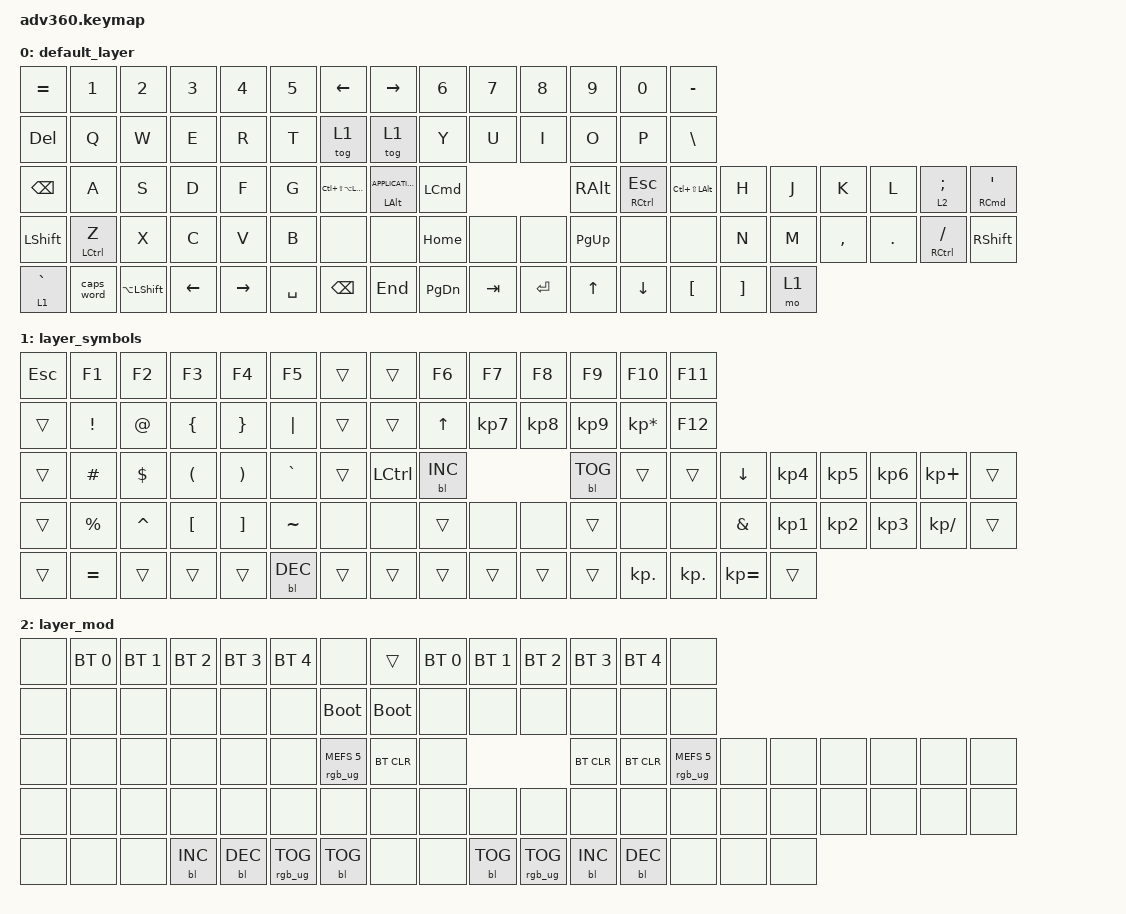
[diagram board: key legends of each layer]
/*
 * Copyright (c) 2020 The ZMK Contributors
 *
 * SPDX-License-Identifier: MIT
 */
/* THIS FILE WAS GENERATED!
 *
 * This file was generated automatically. You may or may not want to
 * edit it directly.
 */

#include <behaviors.dtsi>
#include <dt-bindings/zmk/keys.h>
#include <dt-bindings/zmk/backlight.h>
#include <dt-bindings/zmk/bt.h>
#include <dt-bindings/zmk/rgb.h>

/ {
    behaviors {
        #include "macros.dtsi"

        hm: homerow_mods {
            compatible = "zmk,behavior-hold-tap";
            label = "HOMEROW_MODS";
            #binding-cells = <2>;
            tapping-term-ms = <200>;
            quick_tap_ms = <175>;
            flavor = "tap-preferred";
            bindings =
                <&kp>,
                <&kp>;
        };
    };

    keymap {
        compatible = "zmk,keymap";

        default_layer {
            bindings = <
     &kp EQUAL       &kp N1         &kp N2    &kp N3     &kp N4     &kp N5              &kp LEFT                   &kp RIGHT            &kp N6   &kp N7     &kp N8         &kp N9                 &kp N0         &kp MINUS
       &kp DEL        &kp Q          &kp W     &kp E      &kp R      &kp T                &tog 1                      &tog 1             &kp Y    &kp U      &kp I          &kp O                  &kp P          &kp BSLH
 &kp BACKSPACE        &kp A          &kp S     &kp D      &kp F      &kp G  &kp LC(LS(LA(LGUI)))  &mt LEFT_ALT K_APPLICATION  &kp LEFT_COMMAND                      &kp RIGHT_ALT  &mt RIGHT_CONTROL ESC  &kp LC(LS(LALT))     &kp H   &kp J      &kp K    &kp L  &lt 2 SEMICOLON  &mt RIGHT_COMMAND SINGLE_QUOTE
     &kp LSHFT  &mt LCTRL Z          &kp X     &kp C      &kp V      &kp B                 &none                       &none          &kp HOME    &none      &none      &kp PG_UP                  &none             &none     &kp N   &kp M  &kp COMMA  &kp DOT  &mt RCTRL SLASH                       &kp RSHFT
   &lt 1 GRAVE   &caps_word  &kp LA(LSHIFT)  &kp LEFT  &kp RIGHT  &kp SPACE         &kp BACKSPACE                     &kp END         &kp PG_DN  &kp TAB  &kp ENTER         &kp UP               &kp DOWN          &kp LBKT  &kp RBKT   &mo 1
            >;
        };

        layer_symbols {
            bindings = <
 &kp ESC           &kp F1       &kp F2                &kp F3                 &kp F4      &kp F5  &trans     &trans      &kp F6     &kp F7     &kp F8      &kp F9          &kp F10     &kp F11
  &trans  &kp EXCLAMATION  &kp AT_SIGN        &kp LEFT_BRACE        &kp RIGHT_BRACE    &kp PIPE  &trans     &trans      &kp UP  &kp KP_N7  &kp KP_N8   &kp KP_N9  &kp KP_MULTIPLY     &kp F12
  &trans        &kp POUND   &kp DOLLAR  &kp LEFT_PARENTHESIS  &kp RIGHT_PARENTHESIS   &kp GRAVE  &trans  &kp LCTRL  &bl BL_INC                        &bl BL_TOG           &trans      &trans       &kp DOWN  &kp KP_N4  &kp KP_N5  &kp KP_N6    &kp KP_PLUS  &trans
  &trans      &kp PERCENT    &kp CARET      &kp LEFT_BRACKET      &kp RIGHT_BRACKET   &kp TILDE   &none      &none      &trans      &none      &none      &trans            &none       &none  &kp AMPERSAND  &kp KP_N1  &kp KP_N2  &kp KP_N3  &kp KP_DIVIDE  &trans
  &trans        &kp EQUAL       &trans                &trans                 &trans  &bl BL_DEC  &trans     &trans      &trans     &trans     &trans      &trans       &kp KP_DOT  &kp KP_DOT   &kp KP_EQUAL     &trans
            >;
        };

        layer_mod {
            bindings = <
  &none  &bt BT_SEL 0  &bt BT_SEL 1  &bt BT_SEL 2  &bt BT_SEL 3     &bt BT_SEL 4                   &none       &trans  &bt BT_SEL 0  &bt BT_SEL 1     &bt BT_SEL 2  &bt BT_SEL 3  &bt BT_SEL 4                   &none
  &none         &none         &none         &none         &none            &none             &bootloader  &bootloader         &none         &none            &none         &none         &none                   &none
  &none         &none         &none         &none         &none            &none  &rgb_ug RGB_MEFS_CMD 5   &bt BT_CLR         &none                                   &bt BT_CLR    &bt BT_CLR  &rgb_ug RGB_MEFS_CMD 5   &none   &none   &none   &none   &none   &none
  &none         &none         &none         &none         &none            &none                   &none        &none         &none         &none            &none         &none         &none                   &none   &none   &none   &none   &none   &none   &none
  &none         &none         &none    &bl BL_INC    &bl BL_DEC  &rgb_ug RGB_TOG              &bl BL_TOG        &none         &none    &bl BL_TOG  &rgb_ug RGB_TOG    &bl BL_INC    &bl BL_DEC                   &none   &none   &none
            >;
        };
    };
};
